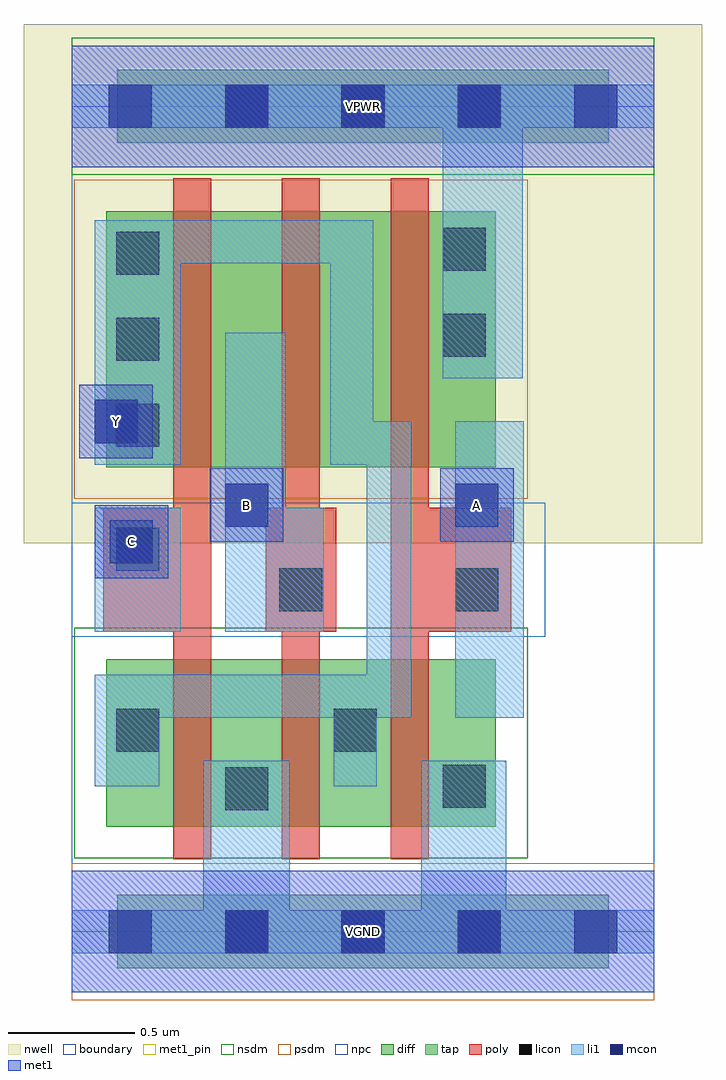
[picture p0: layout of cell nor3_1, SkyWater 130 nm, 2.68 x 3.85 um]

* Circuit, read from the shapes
.subckt nor3_1 A B C VGND VPWR Y
XM1 VGND C Y VGND sky130_fd_pr__nfet_01v8 w=0.66 l=0.15
XM2 Y B VGND VGND sky130_fd_pr__nfet_01v8 w=0.66 l=0.15
XM3 VGND A Y VGND sky130_fd_pr__nfet_01v8 w=0.66 l=0.15
XM4 n1 C Y VPWR sky130_fd_pr__pfet_01v8 w=1.01 l=0.15
XM5 n2 B n1 VPWR sky130_fd_pr__pfet_01v8 w=1.01 l=0.15
XM6 VPWR A n2 VPWR sky130_fd_pr__pfet_01v8 w=1.01 l=0.15
.ends

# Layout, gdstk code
import gdstk
lib = gdstk.Library(unit=1e-6, precision=1e-09)
def R(c, l, rs):  # rectangles x0, y0, x1, y1
    for r in rs: c.add(gdstk.rectangle(r[:2], r[2:], *l))
def A(c, l, x, y, w, h, nx, ny, dx, dy):  # array of equal rectangles
    R(c, l, [(x+i*dx, y+j*dy, x+i*dx+w, y+j*dy+h) for i in range(nx) for j in range(ny)])
nwell = (64, 20)
diff = (65, 20)
tap = (65, 44)
poly = (66, 20)
licon = (66, 44)
li1 = (67, 20)
mcon = (67, 44)
met1_pin = (68, 16)
met1 = (68, 20)
nsdm = (93, 44)
psdm = (94, 20)
npc = (95, 20)
boundary = (235, 4)

nor3_1 = lib.new_cell('nor3_1')
R(nor3_1, nwell, [(-0.19,1.535,2.49,3.585), (0,1.535,2.3,3.585)])
R(nor3_1, diff, [(0.135,0.415,1.675,1.075), (0.135,1.835,1.675,2.845)])
R(nor3_1, tap, [(0.18,-0.145,2.12,0.145), (0.18,3.115,2.12,3.405)])
A(nor3_1, poly, 0.4, 0.285, 0.15, 2.69, 3, 1, 0.43, 0)
R(nor3_1, poly, [(0.125,1.185,0.55,1.675), (0.765,1.185,1.045,1.675), (1.26,1.185,1.735,1.675)])
A(nor3_1, licon, 0.605, -0.085, 0.17, 0.17, 3, 2, 0.46, 3.26)
A(nor3_1, licon, 0.175, 1.915, 0.17, 0.17, 1, 3, 0, 0.34)
R(nor3_1, licon, [(0.605,0.48,0.775,0.65), (1.465,0.49,1.635,0.66), (0.175,0.71,0.345,0.88), (1.035,0.71,1.205,0.88), (0.82,1.265,0.99,1.435), (1.515,1.265,1.685,1.435), (0.175,1.425,0.345,1.595), (1.465,2.27,1.635,2.44), (1.465,2.61,1.635,2.78)])
R(nor3_1, li1, [(0,-0.085,2.3,0.085), (0.52,-0.085,0.86,0.675), (1.38,-0.085,1.715,0.675), (0.09,0.575,0.345,1.015), (1.035,0.575,1.205,1.015), (0.09,0.845,1.34,1.015), (1.165,0.845,1.34,2.015), (1.515,0.845,1.785,2.015), (0.09,1.185,0.43,1.675), (0.605,1.185,0.845,2.365), (0.605,1.185,0.995,1.675), (0.09,1.845,0.43,2.81), (1.02,1.845,1.19,2.81), (1.465,2.185,1.78,3.345), (0.09,2.64,1.19,2.81), (0,3.175,2.3,3.345)])
A(nor3_1, mcon, 0.145, -0.085, 0.17, 0.17, 5, 2, 0.46, 3.26)
R(nor3_1, mcon, [(0.15,1.455,0.32,1.625), (0.605,1.6,0.775,1.77), (1.515,1.6,1.685,1.77), (0.09,1.93,0.26,2.1)])
R(nor3_1, met1_pin, [(0,-0.24,2.3,0.24), (0.09,1.395,0.38,1.685), (0.545,1.54,0.835,1.83), (1.455,1.54,1.745,1.83), (0.03,1.87,0.32,2.16), (0,3.02,2.3,3.5)])
R(nor3_1, met1, [(0,-0.24,2.3,0.24), (0.09,1.395,0.38,1.685), (0.545,1.54,0.835,1.83), (1.455,1.54,1.745,1.83), (0.03,1.87,0.32,2.16), (0,3.02,2.3,3.5)])
R(nor3_1, nsdm, [(0.01,0.29,1.8,1.2), (0,2.99,2.3,3.53)])
R(nor3_1, psdm, [(0,-0.27,2.3,0.27), (0.01,1.71,1.8,2.97)])
R(nor3_1, npc, [(0,1.165,1.87,1.695)])
R(nor3_1, boundary, [(0,0,2.3,3.26)])
nor3_1.add(gdstk.Label('A', (1.6,1.685), layer=68, texttype=5))
nor3_1.add(gdstk.Label('B', (0.69,1.685), layer=68, texttype=5))
nor3_1.add(gdstk.Label('C', (0.235,1.54), layer=68, texttype=5))
nor3_1.add(gdstk.Label('Y', (0.175,2.015), layer=68, texttype=5))
nor3_1.add(gdstk.Label('VPWR', (1.15,3.26), layer=68, texttype=5))
nor3_1.add(gdstk.Label('VGND', (1.15,0), layer=68, texttype=5))
nor3_1.add(gdstk.Label('A', (1.6,1.685), layer=68, texttype=16))
nor3_1.add(gdstk.Label('B', (0.69,1.685), layer=68, texttype=16))
nor3_1.add(gdstk.Label('C', (0.235,1.54), layer=68, texttype=16))
nor3_1.add(gdstk.Label('Y', (0.175,2.015), layer=68, texttype=16))
nor3_1.add(gdstk.Label('VPWR', (1.15,3.26), layer=68, texttype=16))
nor3_1.add(gdstk.Label('VGND', (1.15,0), layer=68, texttype=16))

lib.write_gds('nor3_1.gds')
